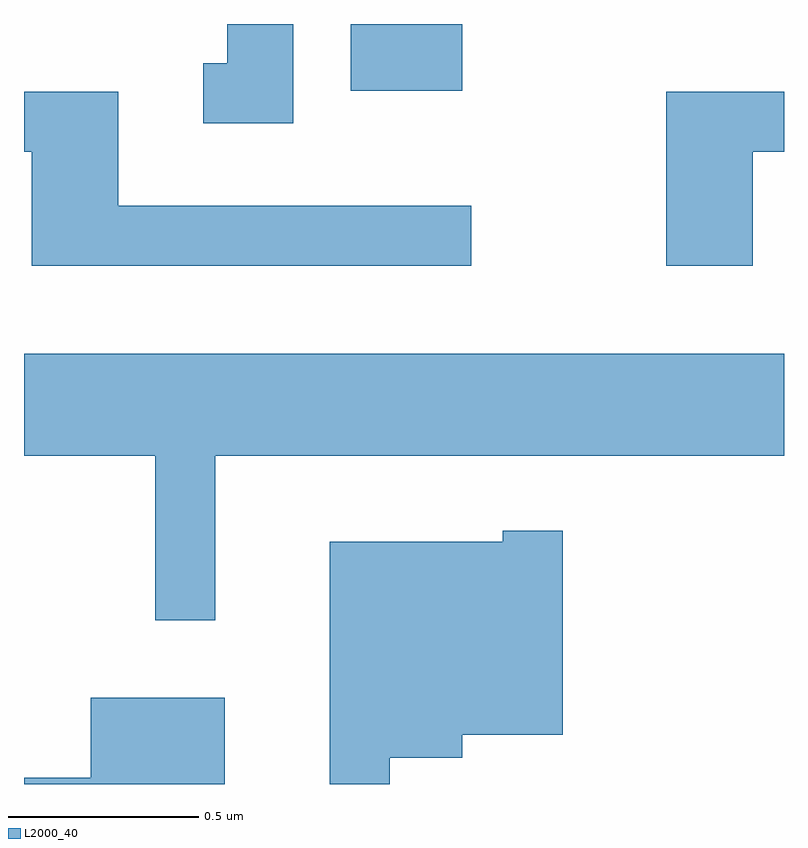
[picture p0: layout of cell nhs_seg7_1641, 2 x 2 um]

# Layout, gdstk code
import gdstk
lib = gdstk.Library(unit=1e-6, precision=1e-09)
def R(c, l, rs):  # rectangles x0, y0, x1, y1
    for r in rs: c.add(gdstk.rectangle(r[:2], r[2:], *l))
def P(c, l, *ps):  # polygons
    for p in ps: c.add(gdstk.Polygon(p, *l))
L2000_40 = (2000, 40)

nhs_seg7_1641 = lib.new_cell('nhs_seg7_1641')
R(nhs_seg7_1641, L2000_40, [(197.471,1804.076,197.764,1804.252)])
P(nhs_seg7_1641, L2000_40, [(197.319,1804.252),(197.146,1804.252),(197.146,1804.149),(197.083,1804.149),(197.083,1803.991),(197.319,1803.991)],
  [(198.529,1803.916),(198.611,1803.916),(198.611,1804.074),(198.301,1804.074),(198.301,1803.616),(198.529,1803.616)],
  [(197.788,1803.774),(196.859,1803.774),(196.859,1804.074),(196.611,1804.074),(196.611,1803.916),(196.631,1803.916),(196.631,1803.616),(197.788,1803.616)],
  [(197.114,1803.116),(198.611,1803.116),(198.611,1803.384),(196.611,1803.384),(196.611,1803.116),(196.956,1803.116),(196.956,1802.683),(197.114,1802.683)],
  [(197.574,1802.321),(197.764,1802.321),(197.764,1802.381),(198.029,1802.381),(198.029,1802.919),(197.871,1802.919),(197.871,1802.889),(197.416,1802.889),(197.416,1802.252),(197.574,1802.252)],
  [(197.139,1802.479),(196.786,1802.479),(196.786,1802.269),(196.611,1802.269),(196.611,1802.252),(197.139,1802.252)])

lib.write_gds('nhs_seg7_1641.gds')
